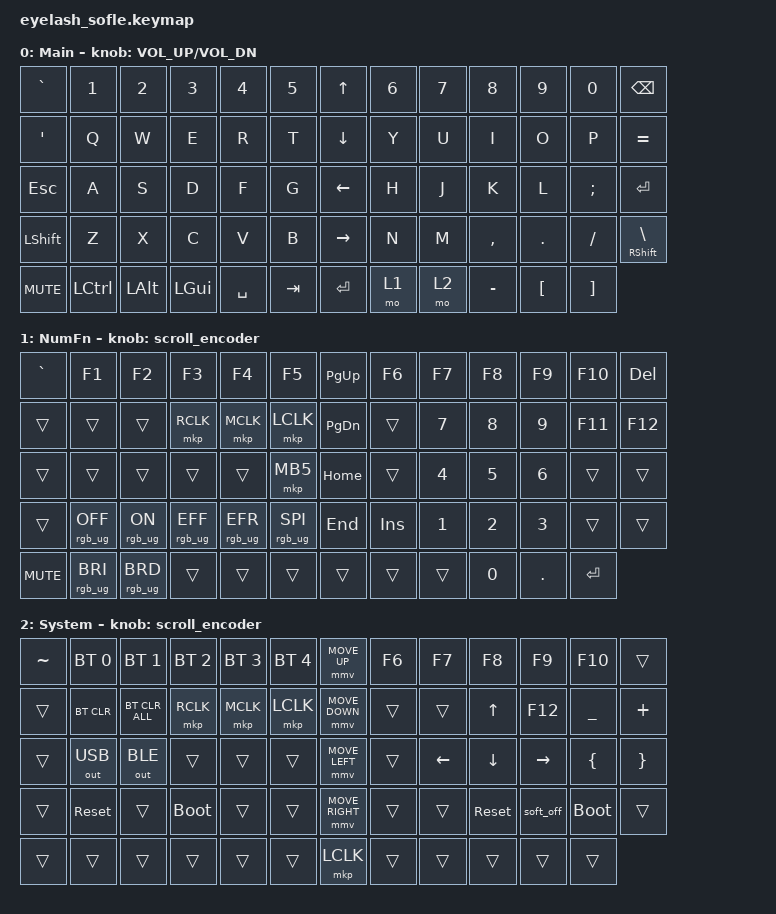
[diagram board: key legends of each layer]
#define ZMK_POINTING_DEFAULT_MOVE_VAL 1200  // 600
#define ZMK_POINTING_DEFAULT_SCRL_VAL 25   // 10

#include <input/processors.dtsi>
#include <zephyr/dt-bindings/input/input-event-codes.h>
#include <behaviors.dtsi>
#include <dt-bindings/zmk/bt.h>
#include <dt-bindings/zmk/ext_power.h>
#include <dt-bindings/zmk/keys.h>
#include <dt-bindings/zmk/pointing.h>
#include <dt-bindings/zmk/rgb.h>
#include <dt-bindings/zmk/outputs.h>

&mmv_input_listener { input-processors = <&zip_xy_scaler 2 1>; };

&msc_input_listener { input-processors = <&zip_scroll_scaler 2 1>; };

&msc {
    acceleration-exponent = <1>;      // 0
    time-to-max-speed-ms = <100>;       // 300
    delay-ms = <0>;                   // 0
};

&mmv {
    time-to-max-speed-ms = <500>;
    acceleration-exponent = <1>;
    trigger-period-ms = <16>;
};


/ {

    scroll_encoder: scroll_encoder {
        compatible = "zmk,behavior-sensor-rotate";
        #sensor-binding-cells = <0>;
        bindings = <&msc SCRL_DOWN>, <&msc SCRL_UP>;
        tap-ms = <100>;
    };

    keymap {
        compatible = "zmk,keymap";

        layer0 {
            bindings = <
&kp GRAVE	&kp N1			&kp N2     	&kp N3        &kp N4  	&kp N5 			&kp UP_ARROW     &kp N6	&kp N7 	&kp N8     	&kp N9           	&kp N0      		&kp BACKSPACE
&kp SQT     &kp Q      		&kp W      	&kp E         &kp R   	&kp T  			&kp DOWN_ARROW   &kp Y 	&kp U  	&kp I      	&kp O            	&kp P            	&kp EQUAL
&kp ESC     &kp A      		&kp S      	&kp D         &kp F   	&kp G  			&kp LEFT_ARROW   &kp H	&kp J  	&kp K      	&kp L            	&kp SEMI    		&kp ENTER
&kp LSHFT   &kp Z      		&kp X      	&kp C         &kp V   	&kp B  	 	    &kp RIGHT_ARROW  &kp N	&kp M  	&kp COMMA	&kp DOT          	&kp FSLH    		&mt RSHIFT BSLH
&kp C_MUTE  &kp LCTRL		&kp LALT	&kp LEFT_GUI  &kp SPACE	&kp TAB 	    &kp ENTER        &mo 1	&mo 2	&kp MINUS   &kp LBKT			&kp RBKT
            >;

            sensor-bindings = <&inc_dec_kp C_VOLUME_UP C_VOL_DN>;
            display-name = "Main";
        };

		layer_1 {
            bindings = <
&kp GRAVE   &kp F1           &kp F2          &kp F3           &kp F4           &kp F5             &kp PG_UP     &kp F6           &kp F7           &kp F8      &kp F9     &kp F10           &kp DELETE
&trans      &trans   	     &trans          &mkp RCLK        &mkp MCLK        &mkp LCLK          &kp PG_DN     &trans           &kp N7           &kp N8      &kp N9     &kp F11           &kp F12
&trans      &trans	         &trans          &trans           &trans           &mkp MB5           &kp HOME   	&trans 	         &kp N4           &kp N5      &kp N6     &trans   		   &trans
&trans      &rgb_ug RGB_OFF  &rgb_ug RGB_ON  &rgb_ug RGB_EFF  &rgb_ug RGB_EFR  &rgb_ug RGB_SPI    &kp END		&kp INS  		 &kp N1           &kp N2      &kp N3     &trans            &trans
&kp C_MUTE  &rgb_ug RGB_BRI  &rgb_ug RGB_BRD &trans           &trans           &trans             &trans        &trans           &trans           &kp N0      &kp DOT    &kp ENTER
            >;

            display-name = "NumFn";
            sensor-bindings = <&scroll_encoder>;
        };

        layer_2 {
            bindings = <
&kp TILDE  &bt BT_SEL 0  &bt BT_SEL 1    &bt BT_SEL 2  &bt BT_SEL 3  &bt BT_SEL 4    &mmv MOVE_UP     &kp F6  &kp F7  &kp F8      &kp F9     &kp F10      &trans
&trans     &bt BT_CLR    &bt BT_CLR_ALL  &mkp RCLK     &mkp MCLK     &mkp LCLK       &mmv MOVE_DOWN   &trans  &trans  &kp UP_ARROW     &kp F12    &kp UNDER    &kp PLUS
&trans     &out OUT_USB  &out OUT_BLE    &trans        &trans        &trans          &mmv MOVE_LEFT   &trans  &kp LEFT_ARROW  &kp DOWN_ARROW      &kp RIGHT_ARROW     &kp LBRC     &kp RBRC
&trans     &sys_reset    &trans          &bootloader   &trans        &trans          &mmv MOVE_RIGHT  &trans  &trans  &sys_reset  &soft_off  &bootloader  &trans
&trans     &trans        &trans          &trans        &trans        &trans          &mkp LCLK        &trans  &trans  &trans      &trans     &trans
            >;

			display-name = "System";
            sensor-bindings = <&scroll_encoder>;
        };
    };
};
